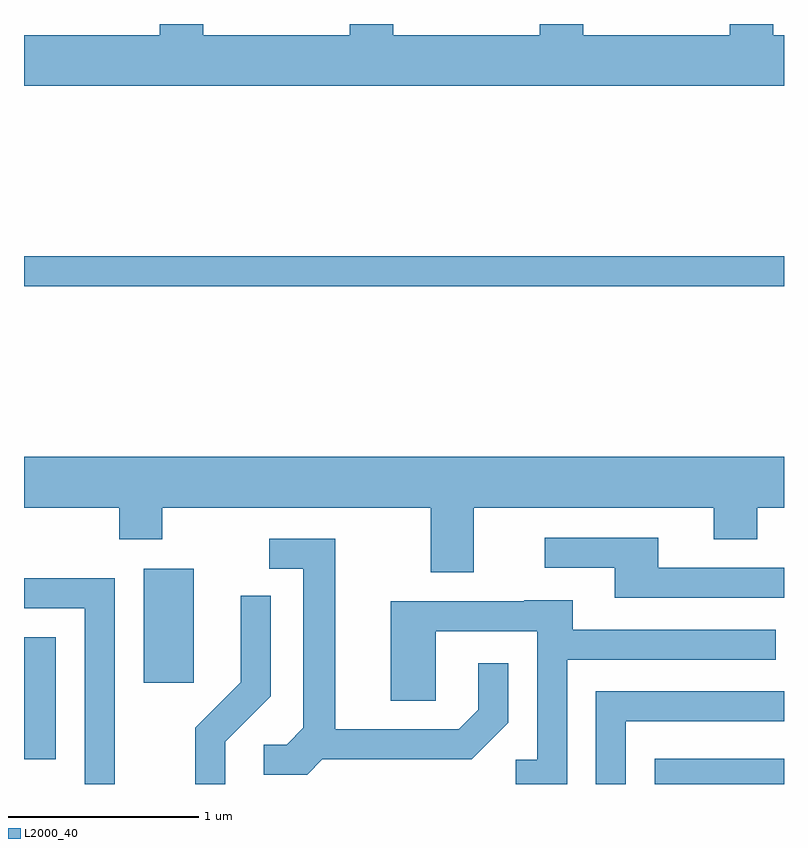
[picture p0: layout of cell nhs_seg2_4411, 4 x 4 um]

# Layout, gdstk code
import gdstk
lib = gdstk.Library(unit=1e-6, precision=1e-09)
def R(c, l, rs):  # rectangles x0, y0, x1, y1
    for r in rs: c.add(gdstk.rectangle(r[:2], r[2:], *l))
def P(c, l, *ps):  # polygons
    for p in ps: c.add(gdstk.Polygon(p, *l))
L2000_40 = (2000, 40)

nhs_seg2_4411 = lib.new_cell('nhs_seg2_4411')
R(nhs_seg2_4411, L2000_40, [(318.931,995.802,319.611,995.934), (315.611,995.931,315.779,996.574), (316.241,996.336,316.504,996.934), (315.611,998.421,319.611,998.579)])
P(nhs_seg2_4411, L2000_40, [(319.611,999.744),(319.554,999.744),(319.554,999.802),(319.326,999.802),(319.326,999.744),(318.554,999.744),(318.554,999.802),(318.326,999.802),(318.326,999.744),(317.554,999.744),(317.554,999.802),(317.326,999.802),(317.326,999.744),(316.554,999.744),(316.554,999.802),(316.326,999.802),(316.326,999.744),(315.611,999.744),(315.611,999.476),(319.611,999.476)],
  [(317.979,997.256),(319.241,997.256),(319.241,997.091),(319.469,997.091),(319.469,997.256),(319.611,997.256),(319.611,997.524),(315.611,997.524),(315.611,997.256),(316.111,997.256),(316.111,997.091),(316.339,997.091),(316.339,997.256),(317.751,997.256),(317.751,996.916),(317.979,996.916)],
  [(319.611,996.939),(318.949,996.939),(318.949,997.099),(318.353,997.099),(318.353,996.941),(318.721,996.941),(318.721,996.781),(319.611,996.781)],
  [(317.182,995.931),(317.967,995.931),(318.159,996.124),(318.159,996.438),(318.001,996.438),(318.001,996.192),(317.899,996.089),(317.249,996.089),(317.249,997.094),(316.903,997.094),(316.903,996.936),(317.081,996.936),(317.081,996.097),(316.994,996.009),(316.873,996.009),(316.873,995.851),(317.102,995.851)],
  [(316.089,996.884),(315.611,996.884),(315.611,996.726),(315.931,996.726),(315.931,995.802),(316.089,995.802)],
  [(316.669,996.024),(316.909,996.264),(316.909,996.793),(316.751,996.793),(316.751,996.337),(316.511,996.097),(316.511,995.802),(316.669,995.802)],
  [(318.469,996.456),(319.568,996.456),(319.568,996.614),(318.499,996.614),(318.499,996.769),(318.245,996.769),(318.245,996.764),(317.541,996.764),(317.541,996.241),(317.779,996.241),(317.779,996.606),(318.311,996.606),(318.311,995.929),(318.198,995.929),(318.198,995.802),(318.469,995.802)],
  [(318.779,996.131),(319.611,996.131),(319.611,996.289),(318.621,996.289),(318.621,995.802),(318.779,995.802)])

lib.write_gds('nhs_seg2_4411.gds')
